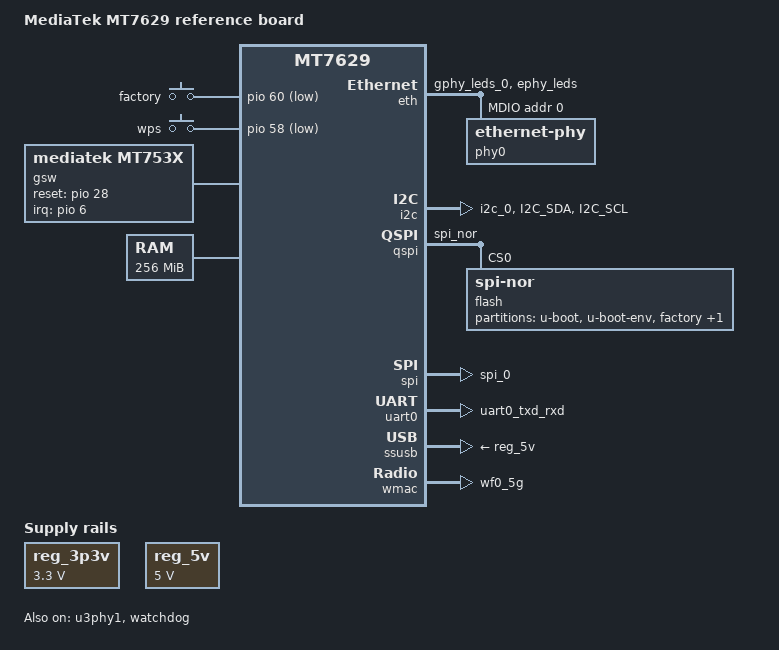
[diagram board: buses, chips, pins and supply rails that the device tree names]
// SPDX-License-Identifier: GPL-2.0
/*
 * Copyright (c) 2019 MediaTek Inc.
 * Author: Ryder Lee <ryder.lee@mediatek.com>
 */

/dts-v1/;
#include <dt-bindings/input/input.h>
#include "mt7629.dtsi"

/ {
	model = "MediaTek MT7629 reference board";
	compatible = "mediatek,mt7629-lynx-rfb", "mediatek,mt7629";

	aliases {
		serial0 = &uart0;
	};

	chosen {
		stdout-path = "serial0:115200n8";
		bootargs = "earlycon=uart8250,mmio32,0x11002000 console=ttyS0,115200n8";
	};

	gpio-keys {
		compatible = "gpio-keys";

		reset {
			label = "factory";
			linux,code = <KEY_RESTART>;
			gpios = <&pio 60 GPIO_ACTIVE_LOW>;
		};

		wps {
			label = "wps";
			linux,code = <KEY_WPS_BUTTON>;
			gpios = <&pio 58 GPIO_ACTIVE_LOW>;
		};
	};

	gsw: gsw@0 {
		compatible = "mediatek,mt753x";
		mediatek,ethsys = <&ethsys>;
		#address-cells = <1>;
		#size-cells = <0>;
	};

	memory@40000000 {
		device_type = "memory";
		reg = <0 0x40000000 0 0x10000000>;
	};

	reg_3p3v: regulator-3p3v {
		compatible = "regulator-fixed";
		regulator-name = "fixed-3.3V";
		regulator-min-microvolt = <3300000>;
		regulator-max-microvolt = <3300000>;
		regulator-boot-on;
		regulator-always-on;
	};

	reg_5v: regulator-5v {
		compatible = "regulator-fixed";
		regulator-name = "fixed-5V";
		regulator-min-microvolt = <5000000>;
		regulator-max-microvolt = <5000000>;
		regulator-boot-on;
		regulator-always-on;
	};
};

&eth {
	pinctrl-names = "default";
	pinctrl-0 = <&ephy_leds_pins>;
	status = "okay";

	gmac0: mac@0 {
		compatible = "mediatek,eth-mac";
		reg = <0>;
		mtd-mac-address = <&factory 0x2a>;
		phy-mode = "sgmii";
		fixed-link {
			speed = <1000>;
			full-duplex;
			pause;
		};
	};

	gmac1: mac@1 {
		compatible = "mediatek,eth-mac";
		reg = <1>;
		mtd-mac-address = <&factory 0x24>;
		phy-handle = <&phy0>;
	};

	mdio: mdio-bus {
		#address-cells = <1>;
		#size-cells = <0>;

		phy0: ethernet-phy@0 {
			reg = <0>;
			phy-mode = "gmii";
		};
	};
};

&gsw {
	mediatek,mdio = <&mdio>;
	mediatek,portmap = "llllw";
	mediatek,mdio_master_pinmux = <0>;
	reset-gpios = <&pio 28 0>;
	interrupt-parent = <&pio>;
	interrupts = <6 IRQ_TYPE_LEVEL_HIGH>;
	status = "okay";

	port6: port@6 {
		compatible = "mediatek,mt753x-port";
		reg = <6>;
		phy-mode = "sgmii";
		fixed-link {
			speed = <2500>;
			full-duplex;
		};
	};
};

&i2c {
	pinctrl-names = "default";
	pinctrl-0 = <&i2c_pins>;
	status = "okay";
};

&qspi {
	pinctrl-names = "default";
	pinctrl-0 = <&qspi_pins>;
	status = "okay";

	flash@0 {
		compatible = "jedec,spi-nor";
		reg = <0>;

		partitions {
			compatible = "fixed-partitions";
			#address-cells = <1>;
			#size-cells = <1>;

			partition@0 {
				label = "u-boot";
				reg = <0x00000 0x60000>;
				read-only;
			};

			partition@60000 {
				label = "u-boot-env";
				reg = <0x60000 0x10000>;
				read-only;
			};

			factory: partition@70000 {
				label = "factory";
				reg = <0x70000 0x40000>;
				read-only;
			};

			partition@b0000 {
				label = "firmware";
				reg = <0xb0000 0xb50000>;
			};
		};
	};
};

&pio {
	eth_pins: eth-pins {
		mux {
			function = "eth";
			groups = "mdc_mdio";
		};
	};

	ephy_leds_pins: ephy-leds-pins {
		mux {
			function = "led";
			groups = "gphy_leds_0", "ephy_leds";
		};
	};

	i2c_pins: i2c-pins {
		mux {
			function = "i2c";
			groups =  "i2c_0";
		};

		conf {
			pins = "I2C_SDA", "I2C_SCL";
			drive-strength = <4>;
			bias-disable;
		};
	};

	pcie_pins: pcie-pins {
		mux {
			function = "pcie";
			groups = "pcie_clkreq",
				 "pcie_pereset",
				 "pcie_wake";
		};
	};

	pwm_pins: pwm-pins {
		mux {
			function = "pwm";
			groups = "pwm_0";
		};
	};

	/* Serial NAND is shared pin with SPI-NOR */
	serial_nand_pins: serial-nand-pins {
		mux {
			function = "flash";
			groups = "snfi";
		};
	};

	spi_pins: spi-pins {
		mux {
			function = "spi";
			groups = "spi_0";
		};
	};

	/* SPI-NOR is shared pin with serial NAND */
	qspi_pins: qspi-pins {
		mux {
			function = "flash";
			groups = "spi_nor";
		};
	};

	uart0_pins: uart0-pins {
		mux {
			function = "uart";
			groups = "uart0_txd_rxd" ;
		};
	};

	uart1_pins: uart1-pins {
		mux {
			function = "uart";
			groups = "uart1_0_tx_rx" ;
		};
	};

	uart2_pins: uart2-pins {
		mux {
			function = "uart";
			groups = "uart2_0_txd_rxd" ;
		};
	};

	watchdog_pins: watchdog-pins {
		mux {
			function = "watchdog";
			groups = "watchdog";
		};
	};

	wmac0_pins: wmac0-pins {
		mux {
			function = "wifi";
			groups = "wf0_5g";
			drive-strength = <4>;
		};
	};

	wmac1_pins: wmac0-pins {
		mux {
			function = "wifi";
			groups = "wf0_2g";
			drive-strength = <4>;
		};
	};
};

&spi {
	pinctrl-names = "default";
	pinctrl-0 = <&spi_pins>;
	status = "okay";
};

&uart0 {
	pinctrl-names = "default";
	pinctrl-0 = <&uart0_pins>;
	status = "okay";
};

&ssusb {
	vusb33-supply = <&reg_3p3v>;
	vbus-supply = <&reg_5v>;
	status = "okay";
};

&u3phy1 {
	status = "okay";
};

&watchdog {
	pinctrl-names = "default";
	pinctrl-0 = <&watchdog_pins>;
	status = "okay";
};

&wmac {
	pinctrl-names = "default";
	pinctrl-0 = <&wmac0_pins>;
	pinctrl-1 = <&wmac1_pins>;
	status = "okay";
};
